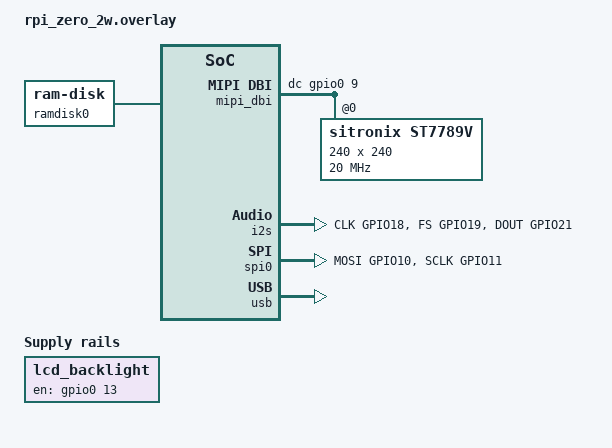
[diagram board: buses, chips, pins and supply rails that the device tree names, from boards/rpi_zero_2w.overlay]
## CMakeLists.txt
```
# This file is part of the MicroPython project, http://micropython.org/
#
# The MIT License (MIT)
#
# Copyright 2020 NXP
#
# Permission is hereby granted, free of charge, to any person obtaining a copy
# of this software and associated documentation files (the "Software"), to deal
# in the Software without restriction, including without limitation the rights
# to use, copy, modify, merge, publish, distribute, sublicense, and/or sell
# copies of the Software, and to permit persons to whom the Software is
# furnished to do so, subject to the following conditions:
#
# The above copyright notice and this permission notice shall be included in
# all copies or substantial portions of the Software.
#
# THE SOFTWARE IS PROVIDED "AS IS", WITHOUT WARRANTY OF ANY KIND, EXPRESS OR
# IMPLIED, INCLUDING BUT NOT LIMITED TO THE WARRANTIES OF MERCHANTABILITY,
# FITNESS FOR A PARTICULAR PURPOSE AND NONINFRINGEMENT. IN NO EVENT SHALL THE
# AUTHORS OR COPYRIGHT HOLDERS BE LIABLE FOR ANY CLAIM, DAMAGES OR OTHER
# LIABILITY, WHETHER IN AN ACTION OF CONTRACT, TORT OR OTHERWISE, ARISING FROM,
# OUT OF OR IN CONNECTION WITH THE SOFTWARE OR THE USE OR OTHER DEALINGS IN
# THE SOFTWARE.

cmake_minimum_required(VERSION 3.20.0)

find_package(Zephyr REQUIRED HINTS $ENV{ZEPHYR_BASE})
project(micropython)

set(MICROPY_PORT_DIR    ${CMAKE_CURRENT_SOURCE_DIR})
set(MICROPY_DIR         ${MICROPY_PORT_DIR}/../..)
set(MICROPY_TARGET      micropython)
string(TOUPPER          ZEPHYR_${BOARD} MICROPY_BOARD)

include(${MICROPY_DIR}/py/py.cmake)
include(${MICROPY_DIR}/extmod/extmod.cmake)
# pyDirect: enable USER_C_MODULES (parity with esp32/rp2/etc. ports).
include(${MICROPY_DIR}/py/usermod.cmake)

# extmod.cmake unconditionally adds modsocket.c, which wants the NIC-protocol
# framework (mod_network_socket_obj_t) when MICROPY_PY_NETWORK is on without
# MICROPY_PY_LWIP. The zephyr port owns its socket layer (zsock-backed
# modsocket.c in MICROPY_SOURCE_PORT), so excise the extmod variant.
list(REMOVE_ITEM MICROPY_SOURCE_EXTMOD ${MICROPY_EXTMOD_DIR}/modsocket.c)

list(APPEND DTS_ROOT ${CMAKE_CURRENT_SOURCE_DIR}/dts)

# Define mpy-cross flags, for use with frozen code.
if(CONFIG_RISCV_ISA_RV32I AND CONFIG_RISCV_ISA_EXT_M AND CONFIG_RISCV_ISA_EXT_C)
    set(ARCH_FLAGS "")
    set(RV32_EXT "")
    if(CONFIG_RISCV_ISA_EXT_ZBA)
        list(APPEND RV32_EXT "zba")
    endif()
    if(CONFIG_RISCV_ISA_EXT_ZCMP)
        list(APPEND RV32_EXT "zcmp")
    endif()
    if(RV32_EXT)
        list(JOIN RV32_EXT "," RV32_EXT)
        set(ARCH_FLAGS "-march-flags=${RV32_EXT}")
    endif()
    set(MICROPY_CROSS_FLAGS "-march=rv32imc ${ARCH_FLAGS}")
elseif(CONFIG_RISCV_ISA_RV64I AND CONFIG_RISCV_ISA_EXT_M AND CONFIG_RISCV_ISA_EXT_C)
    set(MICROPY_CROSS_FLAGS -march=rv64imc)
endif()

if (CONFIG_MICROPY_FROZEN_MODULES)
    cmake_path(ABSOLUTE_PATH CONFIG_MICROPY_FROZEN_MANIFEST BASE_DIRECTORY ${CMAKE_CURRENT_LIST_DIR})
    set(MICROPY_FROZEN_MANIFEST ${CONFIG_MICROPY_FROZEN_MANIFEST})
endif()

set(MICROPY_SOURCE_PORT
    main.c
    help.c
    machine_i2c.c
    machine_spi.c
    machine_pin.c
    machine_rtc.c
    machine_timer.c
    modbluetooth_zephyr.c
    modsocket.c
    modzephyr.c
    modzsensor.c
    mphalport.c
    src/modnetwork_wlan.c
    uart_core.c
    zephyr_device.c
    zephyr_storage.c
    zephyr_filesystem.c
    mpthreadport.c
)
list(TRANSFORM MICROPY_SOURCE_PORT PREPEND ${MICROPY_PORT_DIR}/)

set(MICROPY_SOURCE_SHARED
    libc/printf.c
    readline/readline.c
    runtime/gchelper_generic.c
    runtime/interrupt_char.c
    runtime/mpirq.c
    runtime/pyexec.c
    runtime/stdout_helpers.c
    runtime/sys_stdio_mphal.c
    timeutils/timeutils.c
)
list(TRANSFORM MICROPY_SOURCE_SHARED PREPEND ${MICROPY_DIR}/shared/)

set(MICROPY_SOURCE_DRIVERS
    bus/softspi.c
)
list(TRANSFORM MICROPY_SOURCE_DRIVERS PREPEND ${MICROPY_DIR}/drivers/)

set(MICROPY_QSTRDEFS_PORT
    ${MICROPY_PORT_DIR}/qstrdefsport.h
)

if (CONFIG_MICROPY_VFS_FAT)

list(APPEND MICROPY_SOURCE_LIB
    oofatfs/ff.c
    oofatfs/ffunicode.c
)

endif()

if (CONFIG_MICROPY_VFS_LFS1)

list(APPEND MICROPY_SOURCE_LIB
    littlefs/lfs1.c
    littlefs/lfs1_util.c
)

endif()

if (CONFIG_MICROPY_VFS_LFS2)

list(APPEND MICROPY_SOURCE_LIB
    littlefs/lfs2.c
    littlefs/lfs2_util.c
)

endif()

list(TRANSFORM MICROPY_SOURCE_LIB PREPEND ${MICROPY_DIR}/lib/)

set(MICROPY_SOURCE_QSTR
    ${MICROPY_SOURCE_PY}
    ${MICROPY_SOURCE_EXTMOD}
    ${MICROPY_SOURCE_SHARED}
    ${MICROPY_SOURCE_DRIVERS}
    ${MICROPY_SOURCE_LIB}
    ${MICROPY_SOURCE_PORT}
    ${MICROPY_SOURCE_USERMOD}
)

zephyr_get_include_directories_for_lang(C includes)
zephyr_get_system_include_directories_for_lang(C system_includes)
zephyr_get_compile_definitions_for_lang(C definitions)
zephyr_get_compile_options_for_lang(C options)

set(MICROPY_CPP_FLAGS_EXTRA ${includes} ${system_includes} ${definitions} ${options})

zephyr_library_named(${MICROPY_TARGET})

zephyr_library_include_directories(
    ${MICROPY_INC_CORE}
    ${MICROPY_PORT_DIR}
    ${CMAKE_CURRENT_BINARY_DIR}
    ${MICROPY_INC_USERMOD}
)

zephyr_library_compile_options(
    -std=gnu99 -fomit-frame-pointer
)

zephyr_library_compile_definitions(
    NDEBUG
    MP_CONFIGFILE=<${CONFIG_MICROPY_CONFIGFILE}>
    MICROPY_HEAP_SIZE=${CONFIG_MICROPY_HEAP_SIZE}
    FFCONF_H=\"${MICROPY_OOFATFS_DIR}/ffconf.h\"
    MICROPY_VFS_FAT=$<BOOL:${CONFIG_MICROPY_VFS_FAT}>
    MICROPY_VFS_LFS1=$<BOOL:${CONFIG_MICROPY_VFS_LFS1}>
    MICROPY_VFS_LFS2=$<BOOL:${CONFIG_MICROPY_VFS_LFS2}>
)

zephyr_library_sources(${MICROPY_SOURCE_QSTR})
zephyr_library_link_libraries(kernel)

include(${MICROPY_DIR}/py/mkrules.cmake)

add_dependencies(BUILD_VERSION_HEADER zephyr_generated_headers)
add_dependencies(${MICROPY_TARGET} zephyr_generated_headers)

target_sources(app PRIVATE
    src/zephyr_start.c
    src/zephyr_getchar.c
    src/usbd.c
)

target_link_libraries(app PRIVATE ${MICROPY_TARGET})
```

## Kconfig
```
# This file is part of the MicroPython project, http://micropython.org/
#
# The MIT License (MIT)
#
# Copyright 2020 NXP
#
# Permission is hereby granted, free of charge, to any person obtaining a copy
# of this software and associated documentation files (the "Software"), to deal
# in the Software without restriction, including without limitation the rights
# to use, copy, modify, merge, publish, distribute, sublicense, and/or sell
# copies of the Software, and to permit persons to whom the Software is
# furnished to do so, subject to the following conditions:
#
# The above copyright notice and this permission notice shall be included in
# all copies or substantial portions of the Software.
#
# THE SOFTWARE IS PROVIDED "AS IS", WITHOUT WARRANTY OF ANY KIND, EXPRESS OR
# IMPLIED, INCLUDING BUT NOT LIMITED TO THE WARRANTIES OF MERCHANTABILITY,
# FITNESS FOR A PARTICULAR PURPOSE AND NONINFRINGEMENT. IN NO EVENT SHALL THE
# AUTHORS OR COPYRIGHT HOLDERS BE LIABLE FOR ANY CLAIM, DAMAGES OR OTHER
# LIABILITY, WHETHER IN AN ACTION OF CONTRACT, TORT OR OTHERWISE, ARISING FROM,
# OUT OF OR IN CONNECTION WITH THE SOFTWARE OR THE USE OR OTHER DEALINGS IN
# THE SOFTWARE.

menu "MicroPython Options"

config MICROPY_CONFIGFILE
	string "Configuration file"
	default "mpconfigport_minimal.h"

config MICROPY_HEAP_SIZE
	int "Heap size"
	default 49152

config MICROPY_VFS_FAT
	bool "FatFS file system"
	depends on !FAT_FILESYSTEM_ELM

config MICROPY_VFS_LFS1
	bool "LittleFs version 1 file system"

config MICROPY_VFS_LFS2
	bool "LittleFs version 2 file system"

config MICROPY_FROZEN_MODULES
	bool "Enable Frozen Modules"
	default y if FLASH_MAP || DISK_ACCESS

config MICROPY_FROZEN_MANIFEST
	string "Path to Frozen Modules manifest.py"
	depends on MICROPY_FROZEN_MODULES
	default "boards/manifest.py"

config MICROPY_USB_DEVICE_VID
	hex "USB VID"
	default 0x2fe3

config MICROPY_USB_DEVICE_PID
	hex "USB PID"
	default 0x0001

config BCM43430_BRINGUP
	bool "Compile bring-up shim for BCM43430A1 on Pi Zero 2 W"
	default n
	select SDIO_STACK
	help
	  Compile src/bcm43430_bringup.c, which registers a SYS_INIT
	  at APPLICATION priority that calls sd_init() and sdio_init_func()
	  against the SDHC device aliased as sdhc0. Used during Wi-Fi
	  bring-up to validate Zephyr's SDIO subsystem path; drop once
	  a brcmfmac-style WLAN driver lands under drivers/wifi/.

endmenu # MicroPython Options

source "Kconfig.zephyr"
```

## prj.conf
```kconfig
CONFIG_BUILD_OUTPUT_BIN=y
CONFIG_BUILD_OUTPUT_HEX=y
CONFIG_REBOOT=y

CONFIG_STDOUT_CONSOLE=y
CONFIG_CONSOLE_HANDLER=y
CONFIG_UART_CONSOLE_DEBUG_SERVER_HOOKS=y

CONFIG_FPU=y
CONFIG_MAIN_STACK_SIZE=4736
CONFIG_POLL=y

CONFIG_DEVICE_DT_METADATA=y

# Enable sensor subsystem (doesn't add code if not used).
# Specific sensors should be enabled per-board.
CONFIG_SENSOR=y

# Networking config
CONFIG_NETWORKING=y
CONFIG_NET_IPV4=y
CONFIG_NET_IPV6=y
CONFIG_NET_UDP=y
CONFIG_NET_TCP=y
CONFIG_NET_SOCKETS=y
# socket.settimeout() uses SO_RCVTIMEO/SO_SNDTIMEO, which need net_context
# timeout support compiled in.
CONFIG_NET_CONTEXT_RCVTIMEO=y
CONFIG_NET_CONTEXT_SNDTIMEO=y
CONFIG_TEST_RANDOM_GENERATOR=y

CONFIG_NET_CONFIG_SETTINGS=y
CONFIG_NET_CONFIG_INIT_TIMEOUT=3
CONFIG_NET_CONFIG_NEED_IPV6=y
CONFIG_NET_CONFIG_NEED_IPV4=y

# DNS
CONFIG_DNS_RESOLVER=y
CONFIG_DNS_RESOLVER_ADDITIONAL_QUERIES=2
CONFIG_DNS_SERVER_IP_ADDRESSES=y

# Static IP addresses
CONFIG_NET_CONFIG_MY_IPV6_ADDR="2001:db8::1"
CONFIG_NET_CONFIG_MY_IPV4_ADDR="192.0.2.1"
CONFIG_NET_CONFIG_MY_IPV4_GW="192.0.2.2"
CONFIG_DNS_SERVER1="192.0.2.2"

# DHCP configuration. Until DHCP address is assigned,
# static configuration above is used instead.
CONFIG_NET_DHCPV4=y

# Diagnostics and debugging

# Required for zephyr.stack_analyze()
CONFIG_THREAD_ANALYZER=y
CONFIG_THREAD_ANALYZER_USE_PRINTK=y
CONFIG_THREAD_NAME=y

# Required for socket.pkt_get_info()
CONFIG_NET_BUF_POOL_USAGE=y

# Required for zephyr.shell_exec()
#CONFIG_SHELL=y
#CONFIG_SHELL_BACKEND_SERIAL_INTERRUPT_DRIVEN=n

# Required for zephyr.shell_exec("net iface")
#CONFIG_NET_SHELL=y

# Uncomment to enable "INFO" level net_buf logging
#CONFIG_NET_LOG=y
#CONFIG_NET_DEBUG_NET_BUF=y
# Change to 4 for "DEBUG" level
#CONFIG_SYS_LOG_NET_LEVEL=3

# MicroPython options
CONFIG_MICROPY_CONFIGFILE="mpconfigport.h"
CONFIG_MICROPY_VFS_FAT=y
CONFIG_MICROPY_VFS_LFS2=y

CONFIG_WATCHDOG=y
CONFIG_WDT_DISABLE_AT_BOOT=y

CONFIG_SERIAL=y
CONFIG_UART_INTERRUPT_DRIVEN=y
CONFIG_UART_LINE_CTRL=y
CONFIG_UART_USE_RUNTIME_CONFIGURE=y

CONFIG_LEGACY_GENERATED_INCLUDE_PATH=n
```

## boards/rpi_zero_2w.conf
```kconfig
# Pi Zero 2 W board overrides for MicroPython on Zephyr.
#
# Disable subsystems that the upstream MP prj.conf enables but
# this board doesn't have working drivers for yet. As those land
# (Wi-Fi via CYW43439, watchdog), drop the corresponding lines.

# Networking: enabled now that the brcmfmac Zephyr driver is being
# stood up (drivers/wifi/brcmfmac/).
CONFIG_NETWORKING=y
# DHCPv4 client so the iface gets an IP automatically after WLC_E_LINK
# brings net_if_dormant_off; CONFIG_NET_DHCPV4_RESTART_ON_IF_UP is on by
# default but the driver also calls net_dhcpv4_restart() explicitly.
CONFIG_NET_DHCPV4=y

# Hostname: enable + make it runtime-settable so network.hostname(...)
# from MP propagates into DHCP DISCOVER as Option 12. Default matches
# MICROPY_PY_NETWORK_HOSTNAME_DEFAULT in ports/zephyr/mpconfigport.h
# so the boot-time DHCP request advertises the same name MP reports
# from network.hostname() before the user overrides it.
CONFIG_NET_HOSTNAME_ENABLE=y
CONFIG_NET_HOSTNAME_DYNAMIC=y
CONFIG_NET_HOSTNAME="mpy-zephyr"

# mDNS responder: answer "<hostname>.local" queries on 224.0.0.251 so
# the PWA / host tooling can reach the device by name without knowing
# its DHCP-assigned IP. Uses CONFIG_NET_HOSTNAME above; with
# NET_HOSTNAME_DYNAMIC the name follows network.hostname(...) set from
# MP. All transport deps (IGMP, NET_MGMT, sockets-service) are
# select'd automatically by the Kconfig option.
CONFIG_MDNS_RESPONDER=y

# Empty the test-net placeholder DNS from the MP port's prj.conf
# (CONFIG_DNS_SERVER1="192.0.2.2"). With it set, the resolver context
# pre-populates with the bogus address and first_ipv4_dns() in
# modnetwork_wlan.c returns it ahead of the DHCP-provided server.
# Empty -> DHCPv4 option 6 (via NET_DHCPV4_OPTION_DNS_ADDRESS, default
# y) is the only source, and ifconfig() shows the real gateway.
CONFIG_DNS_SERVER1=""

# Disable Zephyr's boot-time NET_CONFIG helper entirely. With wifi-driven
# net init (DHCP via brcmfmac WLC_E_LINK), the helper is worse than useless:
# it registers a stack-local net_mgmt callback at boot, times out waiting
# for the iface (wifi isn't up until ~9 s after boot), returns -- and
# leaves the dead callback in net_mgmt's global list. When DHCP later
# completes via our path, net_mgmt fires the stale handler -> instruction
# abort on freed stack memory. CONFIG_NET_CONFIG_SETTINGS=n removes the
# subsystem; CONFIG_NET_CONFIG_NEED_IPV4=n is then a no-op but kept
# explicit for clarity.
CONFIG_NET_CONFIG_SETTINGS=n
CONFIG_NET_CONFIG_NEED_IPV4=n

# No watchdog node in dts/arm64/broadcom/bcm2710.dtsi -- machine_wdt.c
# would otherwise fail to resolve DT_ALIAS(watchdog0).
CONFIG_WATCHDOG=n

# The SoC has a real brcm,iproc-rng200 instance; don't pull in the
# soft test RNG.
CONFIG_TEST_RANDOM_GENERATOR=n

# MicroPython's mp_active_ctx is __thread-qualified; without TLS
# support the access through TPIDR_EL0 + offset faults at boot
# (data abort accessing 0x10). The cross-compile toolchain variant
# doesn't auto-advertise TLS support, so we force it on -- the
# zephyr-sdk aarch64-zephyr-elf gcc supports __thread fine.
CONFIG_TOOLCHAIN_CROSS_COMPILE_SUPPORTS_THREAD_LOCAL_STORAGE=y
CONFIG_THREAD_LOCAL_STORAGE=y

# SDHC subsystem: needed by the BCM2835 SDHCI host driver
# (drivers/sdhc/sdhc_bcm2835.c) which targets the EMMC port wired
# to the CYW43439 wireless module. Same subsystem also carries the
# legacy SDHost driver (sdhc_bcm2835_sdhost.c) for the external
# microSD card slot.
CONFIG_SDHC=y
CONFIG_SDHC_LOG_LEVEL_INF=y

# SD subsystem: subsys/sd handles full card-init (CMD0..CMD7 +
# ACMD6 4-bit + CMD6 high-speed + SCR/SD_STATUS reads) and exposes
# the microSD slot as a disk_access disk named "SD" (per the
# zephyr,sdmmc-disk child of &sdhost in the board DTS). From the
# REPL: vfs.mount(zephyr.DiskAccess("SD"), "/sd").
#
# These three are auto-y by Kconfig defaults when the sdmmc-disk DT
# node exists, but explicit is self-documenting.
CONFIG_SDMMC_STACK=y
CONFIG_SDMMC_SUBSYS=y
CONFIG_DISK_DRIVER_SDMMC=y

# SDHost bring-up self-test off now that subsys/sd takes over.
# Without this, the selftest would race subsys/sd for the card and
# leave it in a weird state (selected at 25 MHz/4-bit when subsys
# wants to start from idle). Flip back to y if the driver needs
# bring-up surgery again.

# Logging subsystem. Required for the SDHC driver's LOG_INF/LOG_ERR
# diagnostics to appear on the console -- without CONFIG_LOG=y the
# macros expand to nothing. IMMEDIATE mode flushes synchronously so
# driver init messages aren't dropped or reordered around the
# MicroPython REPL banner.
CONFIG_LOG=y
CONFIG_LOG_MODE_IMMEDIATE=y

# BCM43430A1 / CYW43439 Wi-Fi driver (drivers/wifi/brcmfmac/). Auto-
# selects SDIO_STACK, NET_L2_ETHERNET, NET_L2_WIFI_MGMT etc.
CONFIG_WIFI=y
CONFIG_WIFI_BRCMFMAC=y
CONFIG_SD_LOG_LEVEL_INF=y

# GPIO subsystem: required by the SDHC driver's wifi-reg-on-gpios
# property (drives the CYW43439's WL_REG_ON line) and by `machine.Pin()`
# from the MicroPython REPL. The bcm2711-gpio driver covers the BCM2710
# legacy pull-control sequence too (legacy-pull-control DT prop).
CONFIG_GPIO=y

# SPI subsystem: enables the BCM2835 SPI0 controller driver
# (drivers/spi/spi_bcm2835.c) and `machine.SPI()` from the REPL.
CONFIG_SPI=y

# I2S subsystem: enables the BCM2835 PCM/I2S controller driver
# (drivers/i2s/i2s_bcm2835.c) and `machine.I2S()` from the REPL. The
# driver selects DMA, pulling in drivers/dma/dma_bcm2835.c for the
# sample-buffer stream. The i2s + dma nodes are enabled by the board
# overlay (boards/rpi_zero_2w.overlay).
CONFIG_I2S=y

# I2C subsystem: enables the BCM2835 BSC controller driver
# (drivers/i2c/i2c_bcm2835.c) and `machine.I2C("i2c1")` from the
# REPL. The user-facing BSC1 instance (GPIO 2 SDA / GPIO 3 SCL) is
# enabled with pinctrl in the Zephyr-side board DTS; this just turns
# on the MP subsystem build so machine.I2C can find it.
CONFIG_I2C=y

# DT metadata: lets MP's zephyr_device_find() resolve devices by DT
# node label ("i2c1", "spi0", ...) rather than just by full unit
# address ("i2c@3f804000"). Pure ergonomics; small image cost.
CONFIG_DEVICE_DT_METADATA=y

# 8 MiB MP heap -- ample for bring-up; raise when a real workload needs it.
# Was 64 MiB, which inflated zephyr.bin to ~88 MB: objcopy -O binary
# zero-fills the heap's address range into the flat image because a
# loadable section is placed above the noinit heap.
CONFIG_MICROPY_HEAP_SIZE=8388608

# C++ language support. Needed by the lgfx display module (LovyanGFX is
# C++17). No MicroPython port had ever enabled C++ before -- lgfx Phase A
# Step 1 (the cxxprobe user module in pyDirect/ports/zephyr/) proves the
# cross-compile toolchain + USER_C_MODULES + STATIC-lib link path.
#
# GNU libstdc++, not Zephyr's minimal C++ library: minimal libcpp ships
# only <cstddef>/<cstdint>/<new> and lacks std::nothrow + __cxa_guard_*,
# so it cannot build LovyanGFX (which needs <type_traits>, <algorithm>,
# etc.). The aarch64-zephyr-elf toolchain ships libstdc++, but the
# `cross-compile` toolchain variant never sets TOOLCHAIN_HAS_GLIBCXX -- so
# the build must also pass -DTOOLCHAIN_HAS_GLIBCXX=ON for Kconfig to allow
# GLIBCXX_LIBCPP (same pattern as the forced TLS support above). Selecting
# GLIBCXX_LIBCPP directly -- not CONFIG_REQUIRES_FULL_LIBCPP -- keeps
# picolibc (REQUIRES_FULL_LIBCPP would select REQUIRES_FULL_LIBC).
CONFIG_CPP=y
CONFIG_STD_CPP17=y
CONFIG_GLIBCXX_LIBCPP=y

# Storage stack: RAM-backed disk_access disk + MicroPython VfsLfs2,
# mounted from _boot.py at /ram. This is the development scaffold until
# sdhc_bcm2835_sdhost.c lands; the long-term plan is to live-mount the
# microSD card at /sd for PFC agent-state persistence. See
# notes/zephyr_storage.html for the reasoning trail. The 16 MiB
# ramdisk is declared in the MP-port overlay (boards/rpi_zero_2w.overlay).
#
# Note: deliberately NOT enabling CONFIG_FILE_SYSTEM /
# CONFIG_FILE_SYSTEM_LITTLEFS. MP's VfsLfs2 binding uses its own
# littlefs (micropython/lib/littlefs/lfs2.c) and wraps the DiskAccess
# object directly. Enabling Zephyr's FS subsystem would also build
# zephyr_filesystem.c which expects a zephyr,fstab DT node -- something
# we have no reason to define here.
CONFIG_DISK_ACCESS=y
CONFIG_DISK_DRIVER_RAM=y
CONFIG_MICROPY_VFS_LFS2=y

# Frozen modules: required for asyncio (the device-scripts are async
# throughout) and for the board's frozen _boot.py that mounts the SD at /.
# Kconfig already defaults this y when DISK_ACCESS is set. The host
# mpy-cross tool it needs is passed in via the MICROPY_MPYCROSS env var
# (built host-side) so the cross-compile env never reaches it.
CONFIG_MICROPY_FROZEN_MODULES=y

# Board-specific frozen manifest: keeps asyncio + the board _boot.py out
# of the shared ports/zephyr/boards/manifest.py -- no upstream-file edits.
CONFIG_MICROPY_FROZEN_MANIFEST="boards/rpi_zero_2w/manifest.py"

# Display subsystem -- first time enabled on this board. Drives the
# Pirate Audio ST7789 panel via display_st7789v over zephyr,mipi-dbi-spi
# (the panel is declared in the application overlay, not the board DTS).
# CONFIG_LVGL is left unset on purpose: lv_binding_micropython vendors
# its own LVGL, and enabling Zephyr's LVGL module would compile LVGL
# twice and produce a symbol clash.
CONFIG_DISPLAY=y
CONFIG_MIPI_DBI=y
CONFIG_ST7789V=y
# Surface display + MIPI-DBI init errors during board bring-up; without
# these, panel-init failures (SPI errors, missing pins, etc.) are filtered
# at the LOG level and never reach the console.
CONFIG_DISPLAY_LOG_LEVEL_INF=y
CONFIG_MIPI_DBI_LOG_LEVEL_INF=y

# USB device stack -- exposes the MP REPL over USB CDC ACM on the
# micro-USB OTG port. End-user provisioning flow: flash SD, insert,
# plug in USB, /dev/cu.usbmodem* appears on the host, type
# `network.WLAN(network.STA_IF).connect("ssid","psk")`. Same UX as
# ESP32 boards out of the box.
#
# The DT chosen `zephyr,uart-mp-repl` (set in rpi_zero_2w.overlay)
# retargets the MP REPL UART to the CDC ACM instance; the kernel
# `zephyr,console` chosen stays as PL011 so boot logs / panics keep
# a dedicated serial channel (USB CDC's pre-enumeration buffer is too
# small for the brcmfmac firmware-upload chatter to survive intact).
#
# Plumbing: USB_DEVICE_STACK_NEXT (new "device_next" stack), UDC_DWC2
# with DMA off (driver's DMA path writes truncated VAs to DOEPDMA and
# does no cache management -- PIO is correct for first-cut), CDC ACM
# class. **Do not** set CONFIG_CDC_ACM_SERIAL_INITIALIZE_AT_BOOT --
# MP's own ports/zephyr/src/usbd.c::mp_usbd_init() (called from main())
# does USBD_DEVICE_DEFINE + usbd_register_all_classes itself; the
# auto-init would race + double-register the CDC ACM class
# (`Class instance already registered`, `Failed to register cdc_acm_0
# to HS configuration 1` -- caught on first bring-up).
CONFIG_USB_DEVICE_STACK_NEXT=y
CONFIG_UDC_DWC2=y
CONFIG_UDC_DWC2_DMA=n
CONFIG_USBD_CDC_ACM_CLASS=y

# Switch MP's stdio glue to the tty subsystem path. Default upstream
# port uses zephyr_getchar (hooked into uart_console's debug-input)
# for RX, which is bound to chosen `zephyr,console` (PL011). That
# would leave MP READING from PL011 while my uart_core.c patch sends
# TX to the chosen `zephyr,uart-mp-repl` (CDC ACM) -- asymmetric, the
# REPL wouldn't see anything typed in tio. CONSOLE_SUBSYS routes both
# RX and TX through mp_console_init's tty, which uses DEVICE_DT_GET
# (MP_REPL_UART_NODE) for both. CDC ACM supports IRQ-driven UART so
# tty_init works against it. Zephyr's console_handler stays off
# (CONFIG_CONSOLE_HANDLER=n) since the tty path replaces it.
CONFIG_CONSOLE_SUBSYS=y
CONFIG_CONSOLE_GETCHAR=y
# 4 KiB / 2 KiB ring buffers (default 256 / 256 was sized for hand-typed
# REPL input). 256 B is fine for one keystroke at a time but a host
# pasting into MicroPython's Ctrl-E paste mode dumps a full USB CDC OUT
# bulk packet (up to 512 B) in one go; the REPL drains slower than the
# host fills, the ring overflows, and the tail of the paste arrives
# garbled. mpremote / webrepl_binary use raw-paste-mode with flow
# control and don't hit this, but a plain tio paste is the discovery
# path for most users -- so the buffers need to absorb realistic
# snippet sizes (~few KB) without back-pressure. Cost is BSS only.
CONFIG_CONSOLE_GETCHAR_BUFSIZE=4096
CONFIG_CONSOLE_PUTCHAR_BUFSIZE=2048
CONFIG_CONSOLE_HANDLER=n

# VC firmware (mailbox + property-tag interface) -- the DWC2 vendor
# pre_enable hook calls SET_POWER_STATE(USB_HCD, on) to flip the
# analog PHY power island on at boot. Without this, the DWC2 register
# block is ARM-accessible but D+/D- aren't electrically driven.
# HWINFO also routes through this driver (GET_BOARD_SERIAL tag) to
# populate iSerialNumber in the device descriptor -- without it Mac
# STALL-spams on enumeration but accepts the device anyway.
CONFIG_RASPBERRYPI_FIRMWARE=y
CONFIG_HWINFO=y

# Sensor subsystem -- needed by the BCM2835 VideoCore SoC temperature
# sensor (drivers/sensor/broadcom/bcm2835_vc_thermal), which reads the
# SoC die temp via the firmware GET_TEMPERATURE tag and exposes it as
# SENSOR_CHAN_DIE_TEMP. The &vc_thermal node is enabled in the board
# overlay; the driver then auto-builds (its Kconfig defaults y).
CONFIG_SENSOR=y

# AArch64 USBD/UDC stack bumps. Defaults (USBD=1024, UDC_DWC2=512)
# overflow on the DIN-event call chain through CDC ACM + tty +
# MICROPY (especially during enumeration where every SETUP triggers a
# bus probe / class callback / log). Memory:
# feedback_zephyr_usbd_stack_sizes_aarch64.
CONFIG_USBD_THREAD_STACK_SIZE=4096
CONFIG_UDC_DWC2_STACK_SIZE=4096

# MicroPython REPL C stack. The REPL + compiler + VM all run on the
# Zephyr main thread; the port's prj.conf default (4736) is sized for
# tiny 32-bit targets -- on AArch64 it is far too small: deep Python
# recursion trips "maximum recursion depth" at ~8 frames, and a real
# overflow scribbles the neighbouring thread's saved context (silent
# corruption -> fatal return to a garbage address). 32 KiB is ample
# and free on this 512 MB board.
CONFIG_MAIN_STACK_SIZE=32768

# Quiet steady-state log noise. The USBD / UDC / CDC ACM defaults emit
# INF lines per SETUP transaction + per CDC ACM RX insert -- drowns
# PL011 once the REPL is live. Drop those three to WRN; keep
# the rpi_fw driver keeps its one-shot boot diagnostics.
CONFIG_USBD_LOG_LEVEL_WRN=y
CONFIG_USBD_CDC_ACM_LOG_LEVEL_WRN=y
CONFIG_UDC_DRIVER_LOG_LEVEL_WRN=y
```

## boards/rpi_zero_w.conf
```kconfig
# Original Pi Zero W (BCM2835, ARM1176JZF-S, ARMv6) board overrides for
# MicroPython on Zephyr.
#
# First-light scope: the REPL on USB CDC ACM, nothing else. The Zero 2 W
# config is a superset built around a Pirate Audio HAT (I2S DAC, ST7789
# panel, C++/LovyanGFX) plus CYW43439 Wi-Fi; none of that applies here.
# Storage, Wi-Fi and the display are deliberately left out until the
# REPL is proven on this core.

# Subsystems the upstream MP prj.conf enables that this board has no
# driver for yet.
CONFIG_WATCHDOG=n
CONFIG_TEST_RANDOM_GENERATOR=n

# MicroPython's mp_active_ctx is __thread-qualified, so TLS is not
# optional -- without it every MP_STATE_VM access faults. ARMv6 does
# advertise TLS support (arch/Kconfig selects
# ARCH_HAS_THREAD_LOCAL_STORAGE for CPU_AARCH32_ARMV6), but the
# cross-compile toolchain variant never sets the toolchain half, so
# force it exactly as the Zero 2 W does.
CONFIG_TOOLCHAIN_CROSS_COMPILE_SUPPORTS_THREAD_LOCAL_STORAGE=y
CONFIG_THREAD_LOCAL_STORAGE=y

# VC firmware (mailbox + property tags): the DWC2 vendor pre_enable hook
# calls SET_POWER_STATE(USB_HCD, on) to power the analog PHY island.
# Without it the DWC2 registers are readable but D+/D- are never driven.
# HWINFO rides the same driver for the board serial.
CONFIG_RASPBERRYPI_FIRMWARE=y
CONFIG_HWINFO=y

# USB device stack -- MP REPL over USB CDC ACM on the micro-USB OTG port.
# Do NOT set CDC_ACM_SERIAL_INITIALIZE_AT_BOOT: the port's own
# mp_usbd_init() registers the class itself and the auto-init races it.
CONFIG_USB_DEVICE_STACK_NEXT=y
CONFIG_UDC_DWC2=y
CONFIG_UDC_DWC2_DMA=n
CONFIG_USBD_CDC_ACM_CLASS=y

# Route MP stdio through the tty/console subsystem so both RX and TX
# follow the chosen `zephyr,uart-mp-repl` (CDC ACM). The default
# zephyr_getchar path would read from `zephyr,console` (the mini-UART)
# while writing to CDC -- nothing typed would reach the REPL.
CONFIG_CONSOLE_SUBSYS=y
CONFIG_CONSOLE_GETCHAR=y
CONFIG_CONSOLE_GETCHAR_BUFSIZE=4096
CONFIG_CONSOLE_PUTCHAR_BUFSIZE=2048
CONFIG_CONSOLE_HANDLER=n

# Boot logs + driver diagnostics stay on the mini-UART so the REPL
# channel is clean.
CONFIG_LOG=y
CONFIG_LOG_MODE_IMMEDIATE=y
CONFIG_USBD_LOG_LEVEL_WRN=y
CONFIG_USBD_CDC_ACM_LOG_LEVEL_WRN=y
CONFIG_UDC_DRIVER_LOG_LEVEL_WRN=y

# 8 MiB MP heap. Do not raise casually: objcopy -O binary zero-fills the
# heap's address range into the flat image when a loadable section sits
# above the noinit heap, which is how the Zero 2 W once produced an
# ~88 MB zephyr.bin.
CONFIG_MICROPY_HEAP_SIZE=8388608

# REPL C stack: the compiler and VM all run on the main thread. The
# port default (4736) is sized for far smaller targets.
CONFIG_MAIN_STACK_SIZE=32768

# microSD via the legacy SDHost controller (the overlay enables &sdhost
# and names its ALT0 mux). subsys/sd does full card init and exposes the
# slot as a disk_access disk named "SD"; the stock modules/_boot.py then
# mounts it at /sd, and prj.conf already carries MICROPY_VFS_FAT so the
# card's FAT32 boot partition is readable as-is.
CONFIG_DISK_ACCESS=y
CONFIG_SDHC=y
CONFIG_SDMMC_STACK=y
CONFIG_SDMMC_SUBSYS=y
CONFIG_DISK_DRIVER_SDMMC=y
CONFIG_SD_LOG_LEVEL_INF=y

# --- Wi-Fi: on-module BCM43430A1 over the Arasan SDHCI (SDIO) ---
# All the devicetree work is already in the board DTS: &emmc enabled with
# the emmc_gpio34 mux, a brcmfmac child carrying wifi-reg-on-gpios, and
# &gpio1 widened to reach WL_REG_ON on BCM 41. So this is Kconfig only.
#
# The 43430A1 image is a Cypress trim-on-build build: without the CLM
# blob the radio stays COUNTRY_DISABLEd (null country "#n") and every
# radio operation fails BCME_NOTUP even though WLC_UP reports OK.
CONFIG_WIFI=y
CONFIG_WIFI_BRCMFMAC=y
CONFIG_WIFI_BRCMFMAC_FIRMWARE_FILE="brcmfmac43430-sdio.bin"
CONFIG_WIFI_BRCMFMAC_NVRAM_FILE="brcmfmac43430-sdio.txt"
CONFIG_WIFI_BRCMFMAC_CLM_FILE="brcmfmac43430-sdio.clm_blob"
CONFIG_WIFI_BRCMFMAC_COUNTRY="GB"
CONFIG_WIFI_LOG_LEVEL_WRN=y

# DHCPv4 so the interface gets an address once brcmfmac reports link up.
CONFIG_NET_DHCPV4=y
CONFIG_NET_MGMT=y
CONFIG_NET_MGMT_EVENT=y
CONFIG_NET_L2_ETHERNET_MGMT=y

# Hostname, runtime-settable so network.hostname(...) from MicroPython
# reaches the DHCP DISCOVER as option 12.
CONFIG_NET_HOSTNAME_ENABLE=y
CONFIG_NET_HOSTNAME_DYNAMIC=y
CONFIG_NET_HOSTNAME="mpy-zephyr"

# The port's prj.conf ships a test-net placeholder DNS
# (CONFIG_DNS_SERVER1="192.0.2.2"). Left set, the resolver pre-populates
# with that bogus address and returns it ahead of the DHCP-provided
# server. Empty means DHCPv4 option 6 is the only source.
CONFIG_DNS_SERVER1=""

# Disable Zephyr's boot-time NET_CONFIG helper. With Wi-Fi-driven net
# init it is worse than useless: it registers a stack-local net_mgmt
# callback at boot, times out waiting for an interface that Wi-Fi has
# not brought up yet, returns -- and leaves the dead callback in
# net_mgmt's global list. When DHCP later completes, net_mgmt fires the
# stale handler against freed stack memory.
CONFIG_NET_CONFIG_SETTINGS=n
CONFIG_NET_CONFIG_NEED_IPV4=n
CONFIG_NET_CONFIG_NEED_IPV6=n

# Net stack sizes proven on this SoC by the Arduino Zero W loader.
CONFIG_NET_TX_STACK_SIZE=2048
CONFIG_NET_RX_STACK_SIZE=4096
CONFIG_NET_MGMT_EVENT_STACK_SIZE=4096
```

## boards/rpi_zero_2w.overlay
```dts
/*
 * Pi Zero 2 W devicetree overlay for MicroPython on Zephyr.
 *
 * HAT-layer configuration: things tied to the Pirate Audio HAT rather
 * than the SoC. The board DTS is SoC-only by principle (layered
 * board-config model); HAT pinning, panel definitions, and per-HAT
 * pinctrl groups live here.
 *
 *   - I2S: BCM2835 PCM/I2S on GPIO 18..21 (ALT0). Driven by
 *     drivers/i2s/i2s_bcm2835.c; needs the BCM2835 DMA controller
 *     (also enabled here). machine.I2S is wired up when CONFIG_I2S=y.
 *
 *   - Display: ST7789 240x240 in MIPI-DBI Mode C (4-wire SPI) on SPI0
 *     with GPIO 9 as D/C and GPIO 7 as CS. Write-only -- the HAT
 *     doesn't wire MISO. Backlight on GPIO 13, held high. Tuning
 *     parameters lifted from the in-tree st7789v_waveshare_240x240
 *     shield overlay (closest analog: same panel size, same controller).
 */

#include <zephyr/dt-bindings/gpio/gpio.h>
#include <zephyr/dt-bindings/display/panel.h>

&dma {
	status = "okay";
};

/*
 * I2S: TX-only (PCM_CLK, PCM_FS, PCM_DOUT). PCM_DIN on GPIO 20 is
 * deliberately NOT muxed here, because pre-2020-01-23 Pirate Audio
 * boards wire button Y to GPIO 20 (current boards moved Y to GPIO 24).
 * The stock i2s_gpio18 group includes PCM_DIN; using it would claim
 * GPIO 20 at I2S init and prevent button Y on older HATs.
 *
 * Cost: no I2S RX/capture from this image -- acceptable since the
 * Pirate Audio HAT lineup is all output-only (PCM5100 DAC). Restore
 * the stock i2s_gpio18 group if microphone capture is needed.
 * The bcm283x-pinctrl.dtsi comment anticipates this case directly:
 * "A TX-only board (no capture) can define a 3-pin group omitting
 * PCM_DIN in its overlay."
 */
&i2s {
	status = "okay";
	pinctrl-0 = <&i2s_gpio18_tx_only>;
	pinctrl-names = "default";
};

/*
 * Display wiring on SPI0:
 *   CS  -> GPIO 7  (SPI0_CE1, controller-managed)
 *   D/C -> GPIO 9  (held as a plain GPIO -- the stock spi0_gpio7
 *                   pinctrl group muxes this to MISO/ALT0, which we
 *                   don't want; the MOSI+SCLK-only group below leaves
 *                   GPIO 9 free)
 *   MOSI / SCLK -> GPIO 10 / 11 (ALT0)
 *   Backlight   -> GPIO 13 (regulator-fixed, held high; no PWM in Phase A)
 *
 * The bcm283x-pinctrl.dtsi comment for spi0_gpio7 explicitly anticipates
 * this case: "Write-only displays that need GPIO 9 for a D/C line
 * should define a MOSI+SCLK-only group in the board overlay."
 */
&spi0 {
	pinctrl-0 = <&spi0_mosi_sclk>;
	pinctrl-names = "default";
	cs-gpios = <&gpio0 7 GPIO_ACTIVE_LOW>;
};

&pinctrl {
	i2s_gpio18_tx_only: i2s-gpio18-tx-only {
		group1 {
			pinmux = <PCM_CLK_GPIO18>, <PCM_FS_GPIO19>, <PCM_DOUT_GPIO21>;
		};
	};

	spi0_mosi_sclk: spi0-mosi-sclk {
		group1 {
			pinmux = <SPI0_MOSI_GPIO10>, <SPI0_SCLK_GPIO11>;
		};
	};
};

/*
 * USB CDC ACM as the MP REPL channel. The Zephyr DWC2 controller is
 * disabled in the board SoC DTS (status="disabled" in bcm2710.dtsi);
 * this overlay flips it on, declares a single CDC ACM UART child,
 * and retargets the MP REPL via the chosen `zephyr,uart-mp-repl`.
 * The kernel `zephyr,console` chosen is left alone so PL011 keeps
 * boot logs + panics.
 *
 * &mbox0 + &firmware come up too so the DWC2 vendor pre_enable hook
 * can SET_POWER_STATE(USB_HCD, on) at boot, and the new
 * hwinfo_bcm2835 driver can read GET_BOARD_SERIAL for iSerialNumber.
 */
&mbox0 {
	status = "okay";
};

&firmware {
	status = "okay";
};

/* SoC temperature sensor (firmware GET_TEMPERATURE tag) -> SENSOR_CHAN_DIE_TEMP. */
&vc_thermal {
	status = "okay";
};

&usb {
	status = "okay";

	cdc_acm_uart0: cdc_acm_uart0 {
		compatible = "zephyr,cdc-acm-uart";
		label = "MP REPL";
	};
};

/ {
	chosen {
		zephyr,display = &st7789v;
		zephyr,uart-mp-repl = &cdc_acm_uart0;
	};

	/*
	 * 16 MiB RAM disk for the development iteration loop. The Pi Zero 2 W
	 * has no SoC-attached flash and our Zephyr tree does not yet have an
	 * SD-card controller driver (sdhc_bcm2835.c covers the Arasan SDHCI
	 * port, which on this board is wired to the CYW43439 wireless chip,
	 * not the microSD slot). Until sdhc_bcm2835_sdhost.c lands, the only
	 * route to a working filesystem is a RAM-backed disk_access disk
	 * formatted with LittleFS. Survives soft-reset (DRAM is untouched);
	 * lost on power-cycle. Sideload via the WBP WebREPL upload path.
	 *
	 * Sizing: 16 MiB. Each sector is 512 B, so 32768 sectors. Big enough
	 * for the device-scripts tree plus all current bundle assets (the
	 * largest single asset is the 1 MiB winamp screensaver frames.bin)
	 * with comfortable headroom for future growth. Cost is paid out of
	 * the BSS region of the image; the 64 MiB MicroPython heap
	 * (CONFIG_MICROPY_HEAP_SIZE in this board's .conf) is unaffected.
	 * See notes/zephyr_storage.html for the full reasoning trail.
	 */
	ramdisk0: ramdisk0 {
		compatible = "zephyr,ram-disk";
		disk-name = "RAM";
		sector-size = <512>;
		sector-count = <32768>;
	};

	mipi_dbi: mipi-dbi {
		compatible = "zephyr,mipi-dbi-spi";
		spi-dev = <&spi0>;
		dc-gpios = <&gpio0 9 GPIO_ACTIVE_HIGH>;
		write-only;
		#address-cells = <1>;
		#size-cells = <0>;

		st7789v: st7789v@0 {
			compatible = "sitronix,st7789v";
			reg = <0>;
			mipi-max-frequency = <20000000>;   /* conservative; bump after green */
			mipi-mode = "MIPI_DBI_MODE_SPI_4WIRE";
			pixel-format = <PANEL_PIXEL_FORMAT_RGB_565>;
			width = <240>;
			height = <240>;
			x-offset = <0>;
			y-offset = <0>;    /* Pimoroni Pirate Audio: panel rows 0..239 of the 240x320 RAM */
			/* Tuning -- mirrored from st7789v_waveshare_240x240.overlay */
			vcom = <0x19>;
			gctrl = <0x35>;
			vrhs = <0x12>;
			vdvs = <0x20>;
			mdac = <0x00>;
			gamma = <0x01>;
			lcm = <0x2c>;
			porch-param   = [ 0c 0c 00 33 33 ];
			cmd2en-param  = [ 5a 69 02 01 ];
			pwctrl1-param = [ a4 a1 ];
			pvgam-param   = [ d0 04 0d 11 13 2b 3f 54 4c 18 0d 0b 1f 23 ];
			nvgam-param   = [ d0 04 0c 11 13 2c 3f 44 51 2f 1f 1f 20 23 ];
			ram-param     = [ 00 f0 ];
			rgb-param     = [ cd 08 14 ];
		};
	};

	lcd_backlight: lcd_backlight {
		compatible = "regulator-fixed";
		regulator-name = "lcd-backlight";
		enable-gpios = <&gpio0 13 GPIO_ACTIVE_HIGH>;
		regulator-boot-on;
	};
};
```

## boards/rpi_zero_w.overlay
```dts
/*
 * Original Pi Zero W devicetree overlay for MicroPython on Zephyr.
 *
 * First light: the REPL on USB CDC ACM and nothing else. No HAT, no
 * display, no Wi-Fi -- unlike the Zero 2 W overlay, which is mostly
 * Pirate Audio wiring.
 *
 * &mbox0 + &firmware come up so the DWC2 vendor pre_enable hook can
 * SET_POWER_STATE(USB_HCD, on) at boot and hwinfo can read the board
 * serial for iSerialNumber. The kernel `zephyr,console` stays on the
 * mini-UART (set by the board DTS) so boot logs and panics keep a
 * dedicated channel; only the REPL moves to CDC.
 */

&mbox0 {
	status = "okay";
};

&firmware {
	status = "okay";
};

&usb {
	status = "okay";

	cdc_acm_uart0: cdc_acm_uart0 {
		compatible = "zephyr,cdc-acm-uart";
		label = "MP REPL";
	};
};

/ {
	chosen {
		zephyr,uart-mp-repl = &cdc_acm_uart0;
	};
};

/*
 * Legacy SDHost controller -> external microSD slot. ALT0 mux on
 * GPIO 48..53 via the sdhost_gpio48 group; the SoC DTS leaves this
 * node disabled, unlike the Zero 2 W.
 */
&sdhost {
	pinctrl-names = "default";
	pinctrl-0 = <&sdhost_gpio48>;
	status = "okay";

	sdmmc {
		compatible = "zephyr,sdmmc-disk";
		disk-name = "SD";
	};
};
```

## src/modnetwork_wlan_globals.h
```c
/* Module-globals fragment included into extmod/modnetwork.c via
 * MICROPY_PY_NETWORK_MODULE_GLOBALS_INCLUDEFILE. Adds the WLAN class and
 * the conventional STA_IF/AP_IF integer constants to network.*.
 */
#if defined(CONFIG_NET_L2_WIFI_MGMT)
{ MP_ROM_QSTR(MP_QSTR_WLAN), MP_ROM_PTR(&network_wlan_type) },
#endif
{ MP_ROM_QSTR(MP_QSTR_STA_IF), MP_ROM_INT(MOD_NETWORK_STA_IF) },
{ MP_ROM_QSTR(MP_QSTR_AP_IF), MP_ROM_INT(MOD_NETWORK_AP_IF) },
```

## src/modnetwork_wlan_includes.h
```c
/* File-scope declarations included into extmod/modnetwork.c via
 * MICROPY_PY_NETWORK_INCLUDEFILE. Provides the WLAN type symbol so the
 * globals include can reference it.
 */
#if defined(CONFIG_NET_L2_WIFI_MGMT)
extern const mp_obj_type_t network_wlan_type;
#endif
```
